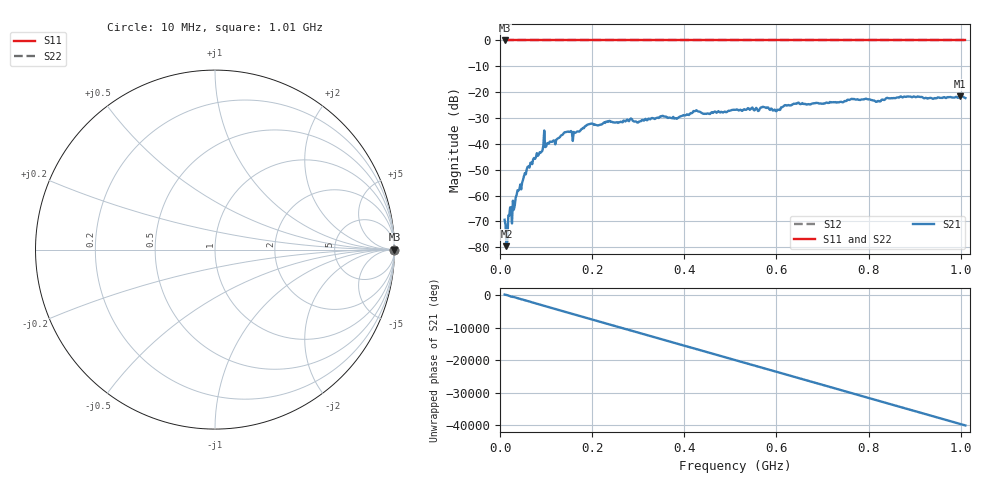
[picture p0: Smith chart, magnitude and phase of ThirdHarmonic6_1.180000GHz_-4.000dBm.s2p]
! 8/16/2025 12:02:08 PM
! C:\ANRITSUVNA\TEMP\TEMP.S2P
! CHANNEL.1
! TR.MEASUREMENT
! RAW.DATA
! RF.CORRECTION.OFF
! AVERAGING.OFF
! IF.BANDWIDTH: 5KHZ
! SWEEPTYPE:  FREQ.SWEEP(Linear)
! Reference Plane Port Info
! PORT:  PORT1  PORT2
! DISTANCE:  0  m  0  m
! TIME:  0  s  0  s
! PHASE.OFFSET:  0  deg.  0  deg.
! LOSS:  0  dB  0  dB
! REF.LOSS:  0  dB  0  dB
! REF.FREQ:  0  Hz  0  Hz
! Power Info
! POWER:  -20  dBm  -20  dBm
! EFF.POWER:  -20  dBm  -20  dBm
! SOURCE.ATTEN:  0  dB  0  dB
! TEST.ATTEN:  0  dB  0  dB
# GHZ S RI R 50.0
! FREQ.GHZ  S11RE  S11IM  S21RE  S21IM  S12RE  S12IM  S22RE  S22IM
!; PortSelection: Port_12
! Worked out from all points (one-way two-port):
!   501 points, 10 MHz to 1.01 GHz, reference 50 ohm
!   highest |S21| = -21.53 dB at 998 MHz (marker M1); lowest = -79.6 dB at 14 MHz (marker M2)
!   lowest |S11| = 0.0 dB at 10 MHz (marker M3)
!   |S11| at or under -10 dB: nowhere
!   |S22| runs from 0.0 to 0.0 dB; largest |S21 - S12| = 1.1
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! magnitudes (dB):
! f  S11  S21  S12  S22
! 10 MHz  0.0  -69.4  0.0  0.0
! 14 MHz  0.0  -79.6  0.0  0.0
! 18 MHz  0.0  -67.7  0.0  0.0
! 20 MHz  0.0  -67.8  0.0  0.0
! 24 MHz  0.0  -64.5  0.0  0.0
! 30 MHz  0.0  -65.5  0.0  0.0
! 38 MHz  0.0  -58.0  0.0  0.0
! 56 MHz  0.0  -51.8  0.0  0.0
! 88 MHz  0.0  -43.4  0.0  0.0
! 92 MHz  0.0  -42.7  0.0  0.0
! 142 MHz  0.0  -35.5  0.0  0.0
! 162 MHz  0.0  -35.7  0.0  0.0
! 178 MHz  0.0  -34.2  0.0  0.0
! 196 MHz  0.0  -32.3  0.0  0.0
! 344 MHz  0.0  -30.0  0.0  0.0
! 510 MHz  0.0  -26.8  0.0  0.0
! 602 MHz  0.0  -26.8  0.0  0.0
! 644 MHz  0.0  -24.5  0.0  0.0
! 678 MHz  0.0  -24.4  0.0  0.0
! 844 MHz  0.0  -22.4  0.0  0.0
! 998 MHz  0.0  -21.5  0.0  0.0
! 1.01 GHz  0.0  -22.3  0.0  0.0
